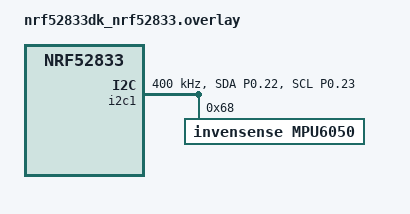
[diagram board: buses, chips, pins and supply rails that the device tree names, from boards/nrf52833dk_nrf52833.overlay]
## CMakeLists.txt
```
cmake_minimum_required(VERSION 3.30.0)
find_package(Zephyr REQUIRED HINTS $ENV{ZEPHYR_BASE})
project(tip-occlusion)
target_sources(app PRIVATE src/main.c)
```

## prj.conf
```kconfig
# Configure the sensor addition
CONFIG_SENSOR=y
CONFIG_MPU6050=y

# I2C
CONFIG_I2C=y

# Logging
CONFIG_LOG=y

# Shell
CONFIG_SHELL=y
CONFIG_I2C_SHELL=y

# Print
CONFIG_CONSOLE=y
CONFIG_PRINTK=y

# Float math
CONFIG_FPU=y

# NVS
CONFIG_NVS=y
CONFIG_FLASH=y
#needed for fixed partition
CONFIG_FLASH_MAP=y
CONFIG_CBPRINTF_COMPLETE=y
CONFIG_CBPRINTF_FP_SUPPORT=y

# Button GPIO
CONFIG_GPIO=y
```

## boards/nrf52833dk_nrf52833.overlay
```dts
#include <zephyr/dt-bindings/pinctrl/nrf-pinctrl.h>
#include <zephyr/dt-bindings/i2c/i2c.h>

//I2C
&pinctrl {
	i2c1_default: i2c1_default {
		group1 {
			psels = <NRF_PSEL(TWIM_SDA, 0, 22)>,
				 <NRF_PSEL(TWIM_SCL, 0, 23)>;
		};
	};

	i2c1_sleep: i2c1_sleep {
		group1 {
			psels = <NRF_PSEL(TWIM_SDA, 0, 22)>,
				 <NRF_PSEL(TWIM_SCL, 0, 23)>;
			low-power-enable;
		};
	};
};

&i2c1 {
	compatible = "nordic,nrf-twim";
	status = "okay";
	clock-frequency = <I2C_BITRATE_FAST>;

	pinctrl-0 = <&i2c1_default>;
	pinctrl-1 = <&i2c1_sleep>;
	pinctrl-names = "default", "sleep";

	mpu6050: mpu6050@68 {
		compatible = "invensense,mpu6050";
		reg = <0x68>;
	};
};
```

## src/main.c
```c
#include <zephyr/kernel.h>
#include <zephyr/device.h>
#include <zephyr/devicetree.h>
#include <zephyr/drivers/sensor.h>
#include <zephyr/logging/log.h>
#include <math.h>
#include <zephyr/drivers/gpio.h>
#include <zephyr/drivers/flash.h>
#include <zephyr/fs/nvs.h>
#include <zephyr/storage/flash_map.h>

// Code Plan:
// 1. Sensor Bias Calibration
// 2. Clinician Calibration of Reference Angle
// 3. Button 1 (DevKit) to trigger Clinician Calibration
// 4. Button 2 and 3 to register left and right insertion angles before sensor capture
// 5. Issue Warnings when angle passes threshold

LOG_MODULE_REGISTER(main, LOG_LEVEL_INF);

#define IMU_NODE DT_NODELABEL(mpu6050)
#define CALIBRATION_SAMPLES 100
#define SAMPLE_PERIOD_MS 20

// NVS stores the reference angle calibrated by a clinician. Once the device is booted, the notebook is read and the
// Accelerometer data is compared to the NVS data

#define NVS_PARTITION nvs_storage
#define NVS_PARTITION_DEVICE FIXED_PARTITION_DEVICE(NVS_PARTITION)
#define NVS_PARTITION_OFFSET FIXED_PARTITION_OFFSET(NVS_PARTITION)
#define REFERENCE_ANGLE_ID 1

// The tolerance of the angle
#define ANGLE_THRESHOLD_DEG 45.0
#define REFERENCE_SAMPLES 100
#define WARNING_SAMPLES 10

// Clinician calibration of "correct" angle
// Gyro and Accelerometer filter's trust ratio

#define FILTER_ALPHA 0.98
#define PI 3.14159265358979323846

// Button node
// WARNING: This code assumes that the positive reference is LEFT EAR!!
static const struct gpio_dt_spec calib_btn = GPIO_DT_SPEC_GET(DT_ALIAS(sw0), gpios);
// Left ear button
static const struct gpio_dt_spec left_btn = GPIO_DT_SPEC_GET(DT_ALIAS(sw2), gpios);
// Right ear button
static const struct gpio_dt_spec right_btn = GPIO_DT_SPEC_GET(DT_ALIAS(sw3), gpios);

enum ear_side { EAR_LEFT, EAR_RIGHT };
static enum ear_side current_ear = EAR_LEFT;

// Reference angle
struct reference_angle {
    double pitch;
    double roll;
};

static struct nvs_fs nvs;

// The clinician calibrated pitch and roll
static double reference_pitch;
static double reference_roll;

// "Zero" the IMU by averaging a number of samples to determine the bias for each axis.

static struct {
    double ax, ay, az;
    double gx, gy, gz;
} bias;

static void calibrate_imu(const struct device *imu) {
    struct sensor_value ax, ay, az, gx, gy, gz;
    bias.ax = bias.ay = bias.az = 0;
    bias.gx = bias.gy = bias.gz = 0;
// Loops 100 tmes.
    for (int i = 0; i < CALIBRATION_SAMPLES; i++) {
        int rc = sensor_sample_fetch(imu);
        if (rc != 0) {
            printk("sensor_sample_fetch failed during calibration: %d\n", rc);
            k_msleep(100);
            continue;
        }

        sensor_channel_get(imu, SENSOR_CHAN_ACCEL_X, &ax);
        sensor_channel_get(imu, SENSOR_CHAN_ACCEL_Y, &ay);
        sensor_channel_get(imu, SENSOR_CHAN_ACCEL_Z, &az);
        sensor_channel_get(imu, SENSOR_CHAN_GYRO_X, &gx);
        sensor_channel_get(imu, SENSOR_CHAN_GYRO_Y, &gy);
        sensor_channel_get(imu, SENSOR_CHAN_GYRO_Z, &gz);

        bias.ax += ax.val1 + ax.val2 / 1e6;
        bias.ay += ay.val1 + ay.val2 / 1e6;
        bias.az += az.val1 + az.val2 / 1e6;
        bias.gx += gx.val1 + gx.val2 / 1e6;
        bias.gy += gy.val1 + gy.val2 / 1e6;
        bias.gz += gz.val1 + gz.val2 / 1e6;

        k_msleep(10); // Small delay between samples
    }

    // Average the biases

    bias.ax /= CALIBRATION_SAMPLES;
    bias.ay /= CALIBRATION_SAMPLES;
    bias.az = (bias.az / CALIBRATION_SAMPLES) - 9.80665; //subtract gravity from z axis
    bias.gx /= CALIBRATION_SAMPLES;
    bias.gy /= CALIBRATION_SAMPLES;
    bias.gz /= CALIBRATION_SAMPLES;

    printk("Calibration complete. Biases:\n");
    printk("Accel: x=%.6f y=%.6f z=%.6f\n", bias.ax, bias.ay, bias.az);
    printk("Gyro: x=%.6f y=%.6f z=%.6f\n", bias.gx, bias.gy, bias.gz);
}

//Clinician calibration of device reference angle
static void reference_angle(const struct device *imu)
{
    double sum_pitch = 0.0;
    double sum_roll = 0.0;
    int captured = 0;

    for (int i = 0; i < REFERENCE_SAMPLES; i++) {
        struct sensor_value ax, ay, az;
        int rc = sensor_sample_fetch(imu);
        if (rc != 0) {
            printk("failed during reference angle capture: %d\n", rc);
            k_msleep(100);
            continue;
        }
        sensor_channel_get(imu, SENSOR_CHAN_ACCEL_X, &ax);
		sensor_channel_get(imu, SENSOR_CHAN_ACCEL_Y, &ay);
		sensor_channel_get(imu, SENSOR_CHAN_ACCEL_Z, &az);

		double ax_v = (ax.val1 + ax.val2 / 1e6) - bias.ax;
		double ay_v = (ay.val1 + ay.val2 / 1e6) - bias.ay;
		double az_v = (az.val1 + az.val2 / 1e6) - bias.az;

		sum_pitch += atan2(-ax_v, sqrt(ay_v * ay_v + az_v * az_v)) * 180.0 / PI;
		sum_roll += atan2(ay_v, az_v) * 180.0 / PI;
		captured++;

		k_msleep(10);
	}
	reference_pitch = sum_pitch / captured;
	reference_roll = sum_roll / captured;

	printk("Reference angle captured: pitch=%.2f roll=%.2f\n",
	       reference_pitch, reference_roll);
}

// Button 1 press captures and saves a new reference angle.
static void recalibrate_reference_angle(const struct device *imu)
{
	printk("Button 1 pressed -- recalibrating reference angle.\n");
	printk("Hold the device at the CORRECT insertion angle...\n");
	k_msleep(2000);
	reference_angle(imu);

	struct reference_angle saved;

	saved.pitch = reference_pitch;
	saved.roll = reference_roll;
	int rc = nvs_write(&nvs, REFERENCE_ANGLE_ID, &saved, sizeof(saved));

	if (rc < 0) {
		printk("Warning: failed to save reference angle: %d\n", rc);
	} else {
		printk("Reference angle saved.\n");
	}
}

// Checks the notebook for a saved reference angle. If none is found, it prompts the user to hold the device at the correct angle and saves that as the reference.
static int setup_reference_angle(const struct device *imu)
{
	nvs.flash_device = NVS_PARTITION_DEVICE;
	if (!device_is_ready(nvs.flash_device)) {
		printk("Flash device not ready -- can't persist reference angle\n");
		return -ENODEV;
	}
	nvs.offset = NVS_PARTITION_OFFSET;

	struct flash_pages_info page_info;
	int rc = flash_get_page_info_by_offs(nvs.flash_device, nvs.offset, &page_info);

	if (rc != 0) {
		printk("Unable to get flash page info: %d\n", rc);
		return rc;
	}

	nvs.sector_size = page_info.size;
	nvs.sector_count = 3U;

	rc = nvs_mount(&nvs);
	if (rc != 0) {
		printk("NVS mount failed: %d\n", rc);
		return rc;
	}
    struct reference_angle saved;

	rc = nvs_read(&nvs, REFERENCE_ANGLE_ID, &saved, sizeof(saved));
	if (rc == sizeof(saved)) {
		reference_pitch = saved.pitch;
		reference_roll = saved.roll;
		printk("Loaded saved reference angle: pitch=%.2f roll=%.2f\n",
		       reference_pitch, reference_roll);
		return 0;
	}

	printk("No saved reference angle found -- running first-time setup.\n");
	printk("Now hold the device at the CORRECT insertion angle...\n");
	k_msleep(2000); /* give the operator a moment to get into position */
	reference_angle(imu);

	saved.pitch = reference_pitch;
	saved.roll = reference_roll;
	rc = nvs_write(&nvs, REFERENCE_ANGLE_ID, &saved, sizeof(saved));
	if (rc < 0) {
		printk("Warning: failed to save reference angle: %d\n", rc);
		return rc;
	}

	printk("Reference angle saved -- this step won't repeat on future boots.\n");
	return 0;
}

//
int main(void)
{
	const struct device *imu = DEVICE_DT_GET(IMU_NODE);

	if (!device_is_ready(imu)) {
		printk("MPU-6050 not ready\n");
		return -ENODEV;
	}

	if (!gpio_is_ready_dt(&calib_btn) || !gpio_is_ready_dt(&right_btn) ||
	    !gpio_is_ready_dt(&left_btn)) {
		printk("Calibration button(s) not ready\n");
		return -ENODEV;
	}
	gpio_pin_configure_dt(&calib_btn, GPIO_INPUT);
	gpio_pin_configure_dt(&right_btn, GPIO_INPUT);
	gpio_pin_configure_dt(&left_btn, GPIO_INPUT);

	printk("MPU-6050 ready: %s\n", imu->name);
	printk("Calibrating -- keep device still and flat...\n");
	calibrate_imu(imu);

	int rc = setup_reference_angle(imu);

	if (rc != 0) {
		printk("Reference angle setup failed: %d\n", rc);
		return rc;
	}

	printk("Waiting for ear selection -- press Button 3 (LEFT) or Button 4 (RIGHT) to begin.\n");

	double pitch_deg = 0.0;
	double roll_deg = 0.0;
	bool initialized = false;
	bool btn_prev_pressed = false;
	bool right_btn_prev_pressed = false;
	bool left_btn_prev_pressed = false;
	bool ear_selected = false;
	int64_t last_time = k_uptime_get();
    int bad_count = 0;
	int good_count = 0;
    bool warning_active = false;

	while (1) {
		// Poll all three buttons. Only react on release->pressed
		// transitions so holding one down doesn't retrigger.
		bool btn_now_pressed = gpio_pin_get_dt(&calib_btn) == 1;
		bool right_btn_now_pressed = gpio_pin_get_dt(&right_btn) == 1;
		bool left_btn_now_pressed = gpio_pin_get_dt(&left_btn) == 1;

		if (btn_now_pressed && !btn_prev_pressed) {
			recalibrate_reference_angle(imu);
		}
		if (right_btn_now_pressed && !right_btn_prev_pressed) {
			current_ear = EAR_RIGHT;
			ear_selected = true;
			initialized = false;
			last_time = k_uptime_get();
			printk("Now measuring: RIGHT ear (reference roll mirrored)\n");
		}
		if (left_btn_now_pressed && !left_btn_prev_pressed) {
			current_ear = EAR_LEFT;
			ear_selected = true;
			initialized = false;
			last_time = k_uptime_get();
			printk("Now measuring: LEFT ear (reference as calibrated)\n");
		}
		btn_prev_pressed = btn_now_pressed;
		right_btn_prev_pressed = right_btn_now_pressed;
		left_btn_prev_pressed = left_btn_now_pressed;

		if (!ear_selected) {
            // No sensor capture/comparison happens until an
			// ear has been explicitly selected.

			k_msleep(SAMPLE_PERIOD_MS);
			continue;
		}

		struct sensor_value ax, ay, az, gx, gy, gz;

		rc = sensor_sample_fetch(imu);

		if (rc != 0) {
			printk("sensor_sample_fetch failed: %d\n", rc);
			k_msleep(SAMPLE_PERIOD_MS);
			continue;
		}

		sensor_channel_get(imu, SENSOR_CHAN_ACCEL_X, &ax);
		sensor_channel_get(imu, SENSOR_CHAN_ACCEL_Y, &ay);
		sensor_channel_get(imu, SENSOR_CHAN_ACCEL_Z, &az);
		sensor_channel_get(imu, SENSOR_CHAN_GYRO_X, &gx);
		sensor_channel_get(imu, SENSOR_CHAN_GYRO_Y, &gy);
		sensor_channel_get(imu, SENSOR_CHAN_GYRO_Z, &gz);

		double ax_v = (ax.val1 + ax.val2 / 1e6) - bias.ax;
		double ay_v = (ay.val1 + ay.val2 / 1e6) - bias.ay;
		double az_v = (az.val1 + az.val2 / 1e6) - bias.az;
		double gx_v = (gx.val1 + gx.val2 / 1e6) - bias.gx;
		double gy_v = (gy.val1 + gy.val2 / 1e6) - bias.gy;

		double accel_pitch = atan2(-ax_v, sqrt(ay_v * ay_v + az_v * az_v)) * 180.0 / PI;
		double accel_roll = atan2(ay_v, az_v) * 180.0 / PI;

        // Gyro rates, converted rad/s -> deg/s
		double gyro_pitch_rate = gy_v * 180.0 / PI;
		double gyro_roll_rate = gx_v * 180.0 / PI;

		int64_t now = k_uptime_get();
		double dt = (now - last_time) / 1000.0; // seconds

		last_time = now;

		if (!initialized) {
			// Initialize the filter with the accelerometer angles on the first iteration
			pitch_deg = accel_pitch;
			roll_deg = accel_roll;
			initialized = true;
		} else {
			pitch_deg = FILTER_ALPHA * (pitch_deg + gyro_pitch_rate * dt) +
				    (1.0 - FILTER_ALPHA) * accel_pitch;
			roll_deg = FILTER_ALPHA * (roll_deg + gyro_roll_rate * dt) +
				   (1.0 - FILTER_ALPHA) * accel_roll;
		}

		// The right ear's correct angle is the left reference with
		// roll mirrored (inverted). Pitch is assumed similar
		// between ears only roll captures "which side" the
		// canal leans toward.
		double effective_reference_pitch = reference_pitch;
		double effective_reference_roll =
			(current_ear == EAR_RIGHT) ? -reference_roll : reference_roll;

      double pitch_deviation = fabs(pitch_deg - effective_reference_pitch);
		double roll_deviation = fabs(roll_deg - effective_reference_roll);
		bool out_of_range = (pitch_deviation > ANGLE_THRESHOLD_DEG) ||
				     (roll_deviation > ANGLE_THRESHOLD_DEG);

		if (out_of_range) {
			bad_count++;
			good_count = 0;
		} else {
			good_count++;
			bad_count = 0;
		}
        	if (!warning_active && bad_count >= WARNING_SAMPLES) {
			warning_active = true;
			printk("WARNING: insertion angle out of range (pitch=%.2f roll=%.2f)\n",
			       pitch_deg, roll_deg);
		} else if (warning_active && good_count >= WARNING_SAMPLES) {
			warning_active = false;
			printk("Angle back in range (pitch=%.2f roll=%.2f)\n",
			       pitch_deg, roll_deg);
		}

		printk("pitch=%.2f roll=%.2f   ear=%s   (reference: pitch=%.2f roll=%.2f)%s\n",
		       pitch_deg, roll_deg,
		       (current_ear == EAR_RIGHT) ? "RIGHT" : "LEFT",
		       effective_reference_pitch, effective_reference_roll,
		       warning_active ? "  [WARNING: OUT OF RANGE]" : "");


		k_msleep(SAMPLE_PERIOD_MS);
	}

	return 0;
}
```
